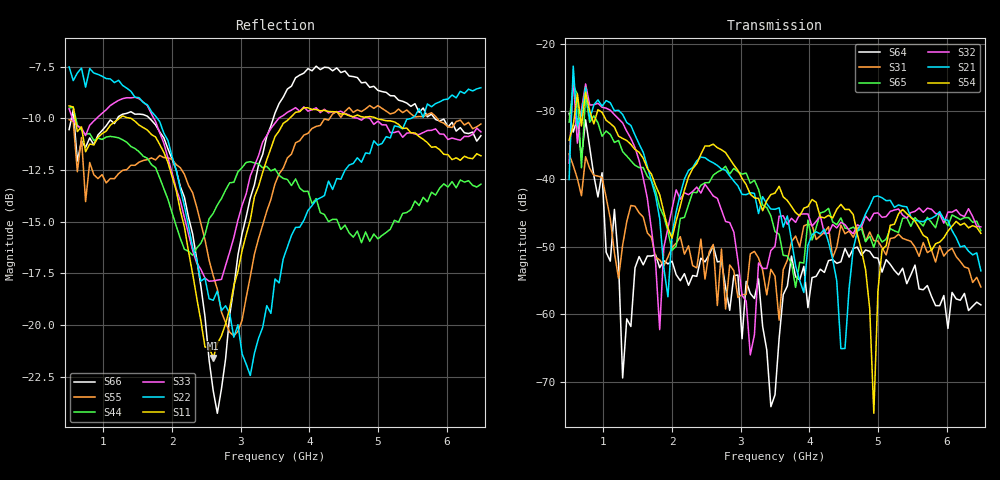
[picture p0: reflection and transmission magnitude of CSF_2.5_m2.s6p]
!Keysight Technologies,M9804A,MY58100912,A.14.10.03
!Date: Thursday, April 27, 2023 10:28:33
!Correction: S11(C  6-Port  )
!S12(C  6-Port  )
!S13(C  6-Port  )
!S14(C  6-Port  )
!S15(C  6-Port  )
!S16(C  6-Port  )
!S21(C  6-Port  )
!S22(C  6-Port  )
!S23(C  6-Port  )
!S24(C  6-Port  )
!S25(C  6-Port  )
!S26(C  6-Port  )
!S31(C  6-Port  )
!S32(C  6-Port  )
!S33(C  6-Port  )
!S34(C  6-Port  )
!S35(C  6-Port  )
!S36(C  6-Port  )
!S41(C  6-Port  )
!S42(C  6-Port  )
!S43(C  6-Port  )
!S44(C  6-Port  )
!S45(C  6-Port  )
!S46(C  6-Port  )
!S51(C  6-Port  )
!S52(C  6-Port  )
!S53(C  6-Port  )
!S54(C  6-Port  )
!S55(C  6-Port  )
!S56(C  6-Port  )
!S61(C  6-Port  )
!S62(C  6-Port  )
!S63(C  6-Port  )
!S64(C  6-Port  )
!S65(C  6-Port  )
!S66(C  6-Port  )
!S6P File: Measurement: :
# Hz S  RI  R 50
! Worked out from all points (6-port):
!   101 points, 500 MHz to 6.5 GHz, reference 50 ohm
!   strongest paths, dB at 500 MHz, 2 GHz, 3.5 GHz, 5 GHz, 6.5 GHz:
!     S54: -34.2, -48.7, -42.1, -56.5, -48.0
!     S21: -40.1, -48.1, -44.5, -42.5, -53.6
!     S32: -37.7, -44.4, -49.9, -45.0, -47.1
!     S65: -31.6, -50.5, -47.8, -48.2, -47.6
!     S31: -36.3, -50.1, -54.3, -49.2, -56.0
!     S64: -30.3, -52.1, -71.9, -51.7, -58.6
!   lowest |S11| = -21.6 dB at 2.6 GHz (marker M1), VSWR 1.18, Z = 42.6 + j2.06 ohm
!   |S11| at or under -10 dB: 587.5 MHz to 1.236 GHz (648.2 MHz wide, 71.1 % of centre); 1.401 GHz to 3.714 GHz (2.314 GHz wide, 90.5 % of centre); 4.974 GHz to end of sweep
